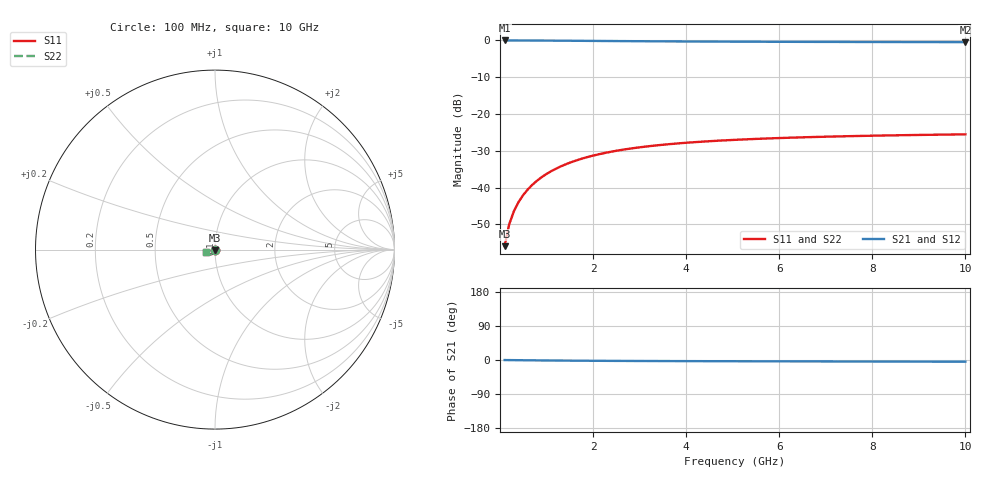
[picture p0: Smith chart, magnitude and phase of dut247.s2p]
! Touchstone file exported from HFSS 2024.1.0
!  File:  C:/UserFiles/LocalFiles/RDL_TSV_Batchsim/temp_TSV1_247_1779390082.aedt
!  Generated:  03:09:18 AM May 22, 2026
!  Design:  TSV1
!  Project:  temp_TSV1_247_1779390082
!  Setup:  Setup1
!  Solution:  Sweep
! Variables:
!  dtsv = 12.68um
!  hbump = 3um
!  htsv = 68.61um
!  lrdl = 252.1521522um
!  p = 40
!  p1 = 46.46um
!  t = 500um
!  trdl = 3um
!  wrdl = 24.89489489um
# GHz S MA R 50.000000
! Terminal data exported
! Port[1] = TSV22_T1
! Port[2] = TSV22_T2
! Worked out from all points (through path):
!   100 points, 100 MHz to 10 GHz, reference 50 ohm
!   highest |S21| = 0.00 dB at 100 MHz (marker M1); lowest = -0.5 dB at 10 GHz (marker M2)
!   lowest |S11| = -55.9 dB at 100 MHz (marker M3), VSWR 1.00, Z = 50 - j0.16 ohm
!   |S11| at or under -10 dB: start of sweep to end of sweep
!   |S22| runs from -55.9 to -25.5 dB; largest |S21 - S12| = 1.7e-14
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0.1  0.001596 -88.8  0.9999 -0.1  0.9999 -0.1  0.001596 -88.8
! Gamma 0 0 0 0
! Port Impedance 50 0 50 0
0.2  0.003189 -91.9  0.9997 -0.3  0.9997 -0.3  0.003189 -91.9
0.3  0.004778 -94.2  0.9994 -0.4  0.9994 -0.4  0.004778 -94.2
0.4  0.006356 -96.2  0.9991 -0.5  0.9991 -0.5  0.006356 -96.2
0.5  0.007918 -98.1  0.9986 -0.6  0.9986 -0.6  0.007918 -98.1
0.6  0.009457 -100.0  0.9981 -0.8  0.9981 -0.8  0.009457 -100.0
0.7  0.01097 -101.8  0.9975 -0.9  0.9975 -0.9  0.01097 -101.8
0.8  0.01245 -103.5  0.9968 -1.0  0.9968 -1.0  0.01245 -103.5
0.9  0.0139 -105.3  0.9961 -1.1  0.9961 -1.1  0.0139 -105.3
1.1  0.01668 -108.6  0.9944 -1.3  0.9944 -1.3  0.01668 -108.6
1.4  0.02055 -113.3  0.9917 -1.6  0.9917 -1.6  0.02055 -113.3
1.6  0.02293 -116.2  0.9897 -1.8  0.9897 -1.8  0.02293 -116.2
1.8  0.02513 -119.0  0.9877 -1.9  0.9877 -1.9  0.02513 -119.0
2.1  0.02813 -122.8  0.9847 -2.1  0.9847 -2.1  0.02813 -122.8
2.5  0.03161 -127.4  0.9808 -2.4  0.9808 -2.4  0.03161 -127.4
2.9  0.03456 -131.5  0.9771 -2.6  0.9771 -2.6  0.03456 -131.5
3.4  0.03763 -135.9  0.973 -2.8  0.973 -2.8  0.03763 -135.9
4.2  0.04148 -141.7  0.9675 -3.0  0.9675 -3.0  0.04148 -141.7
5.1  0.04469 -147.0  0.9626 -3.3  0.9626 -3.3  0.04469 -147.0
6.7  0.04857 -154.2  0.9562 -3.7  0.9562 -3.7  0.04857 -154.2
8.4  0.05121 -159.8  0.9517 -4.1  0.9517 -4.1  0.0512 -159.8
10  0.05287 -164.0  0.9488 -4.5  0.9488 -4.5  0.05287 -164.0
